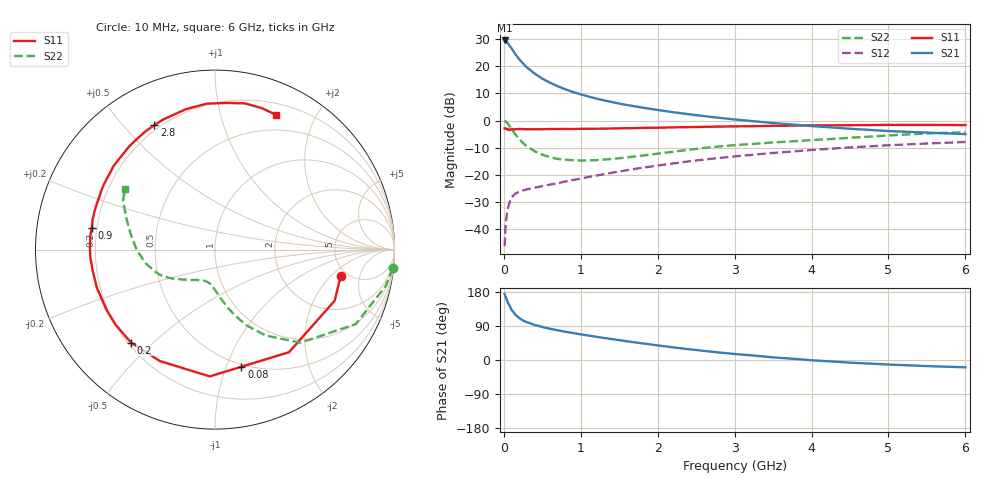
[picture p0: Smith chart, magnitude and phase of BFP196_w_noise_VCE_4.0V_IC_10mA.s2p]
! Infineon Technologies  Discrete & RF Semiconductors
! BFP196
! VCE =  4.0 V,  IC =  10 mA
! Common Emitter S-Parameters:  Jan 2017
# GHz  S  MA  R  50
!  f  S11  S21  S12  S22
! GHz  MAG  ANG  MAG  ANG  MAG  ANG  MAG  ANG
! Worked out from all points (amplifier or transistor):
!   77 points, 10 MHz to 6 GHz, reference 50 ohm
!   highest |S21| = 29.5 dB at 10 MHz (marker M1)
!   |S21| within 3 dB of that: start of sweep to 102.2 MHz
!   unconditionally stable (mu >= 1): 976.3 MHz to 2.381 GHz
!   at 130 MHz: K = 0.24, MSG = 26.4 dB, |S12| = -27.5 dB
!   at 2.2 GHz: K = 1.02, MAG = 8.6 dB, |S12| = -15.8 dB
!   at 6 GHz: K = 0.93, MSG = 1.5 dB, |S12| = -7.9 dB
!   lowest NFmin = 0.99 dB at 450 MHz
!   S11 on the Smith chart (normalised r, x): 10 MHz: 4.41, -2.62; 80 MHz: 0.48, -1.13; 200 MHz: 0.21, -0.43; 900 MHz: 0.18, +0.09; 2.8 GHz: 0.18, +0.61; 6 GHz: 0.32, +1.50
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0.01  0.7156 -11.7  30.02 174.0  0.0048 85.3  0.9952 -6.0
0.02  0.7251 -23.1  29.91 168.2  0.01 84.8  0.9726 -12.0
0.05  0.7049 -54.2  27.07 151.9  0.0235 65.8  0.8874 -27.9
0.08  0.669 -77.3  23.36 141.1  0.0321 55.7  0.7663 -38.5
0.1  0.7071 -92.4  21.48 132.0  0.0381 51.6  0.7041 -47.4
0.15  0.6927 -116.3  16.74 119.2  0.0449 42.3  0.5555 -59.5
0.2  0.698 -132.0  13.52 110.6  0.0482 38.8  0.4555 -67.6
0.25  0.6945 -143.0  11.22 104.1  0.0513 36.4  0.3844 -73.0
0.3  0.6915 -150.9  9.538 99.6  0.0535 35.8  0.3336 -77.4
0.4  0.6916 -162.1  7.34 92.4  0.0575 36.8  0.2707 -83.6
0.5  0.6917 -170.2  5.925 87.0  0.0615 38.1  0.2339 -88.5
0.6  0.6963 -176.5  4.988 82.4  0.0657 39.6  0.2107 -92.9
0.7  0.6968 178.7  4.287 78.4  0.0696 42.4  0.1958 -96.3
0.9  0.6972 169.9  3.355 71.1  0.08 45.4  0.1852 -103.5
1.1  0.7043 162.6  2.772 64.5  0.0907 47.9  0.1841 -110.0
1.5  0.7176 149.8  2.055 52.4  0.1149 50.0  0.2012 -122.9
2.1  0.7414 132.5  1.492 36.0  0.1545 49.0  0.2545 -139.5
2.8  0.7719 115.9  1.121 19.8  0.2037 44.2  0.3325 -154.4
3.1  0.7822 109.5  1.015 14.2  0.2242 41.3  0.3588 -160.9
4.1  0.8141 91.7  0.772 -1.9  0.2919 30.8  0.4434 177.9
5.1  0.8303 77.1  0.631 -12.8  0.3546 18.8  0.5393 157.8
6  0.8246 65.6  0.561 -19.4  0.4013 8.0  0.6062 145.9
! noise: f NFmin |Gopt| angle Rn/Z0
0.45  0.99  0.35  147  0.06
0.9  1.29  0.5  174  0.05
1.9  2.4  0.7  -139  0.25
2.4  2.9  0.73  -123  0.68
